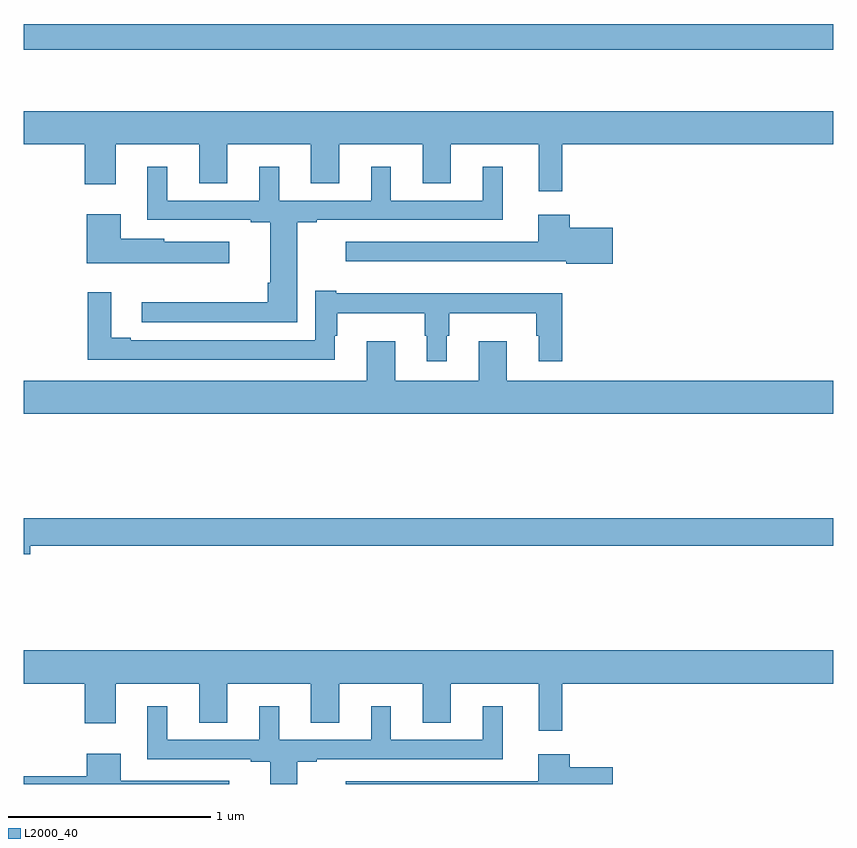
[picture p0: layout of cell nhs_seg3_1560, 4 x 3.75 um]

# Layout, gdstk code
import gdstk
lib = gdstk.Library(unit=1e-6, precision=1e-09)
def R(c, l, rs):  # rectangles x0, y0, x1, y1
    for r in rs: c.add(gdstk.rectangle(r[:2], r[2:], *l))
def P(c, l, *ps):  # polygons
    for p in ps: c.add(gdstk.Polygon(p, *l))
L2000_40 = (2000, 40)

nhs_seg3_1560 = lib.new_cell('nhs_seg3_1560')
R(nhs_seg3_1560, L2000_40, [(191,724.026,195,724.154)])
P(nhs_seg3_1560, L2000_40, [(193.661,723.56),(195,723.56),(195,723.724),(191,723.724),(191,723.56),(191.303,723.56),(191.303,723.363),(191.455,723.363),(191.455,723.56),(191.867,723.56),(191.867,723.367),(192.007,723.367),(192.007,723.56),(192.419,723.56),(192.419,723.367),(192.559,723.367),(192.559,723.56),(192.971,723.56),(192.971,723.367),(193.111,723.367),(193.111,723.56),(193.544,723.56),(193.544,723.327),(193.661,723.327)],
  [(192.352,723.174),(192.448,723.174),(192.448,723.186),(193.367,723.186),(193.367,723.448),(193.268,723.448),(193.268,723.282),(192.814,723.282),(192.814,723.448),(192.716,723.448),(192.716,723.282),(192.262,723.282),(192.262,723.448),(192.164,723.448),(192.164,723.282),(191.71,723.282),(191.71,723.448),(191.612,723.448),(191.612,723.186),(192.122,723.186),(192.122,723.174),(192.218,723.174),(192.218,722.875),(192.206,722.875),(192.206,722.78),(191.583,722.78),(191.583,722.682),(192.352,722.682)],
  [(192.016,723.079),(191.694,723.079),(191.694,723.094),(191.479,723.094),(191.479,723.214),(191.312,723.214),(191.312,722.972),(192.016,722.972)],
  [(193.909,723.147),(193.697,723.147),(193.697,723.211),(193.541,723.211),(193.541,723.078),(192.591,723.078),(192.591,722.981),(193.68,722.981),(193.68,722.969),(193.909,722.969)],
  [(193.09,722.615),(193.102,722.615),(193.102,722.726),(193.533,722.726),(193.533,722.615),(193.544,722.615),(193.544,722.487),(193.661,722.487),(193.661,722.824),(192.544,722.824),(192.544,722.836),(192.441,722.836),(192.441,722.592),(191.53,722.592),(191.53,722.605),(191.434,722.605),(191.434,722.83),(191.317,722.83),(191.317,722.496),(192.538,722.496),(192.538,722.615),(192.55,722.615),(192.55,722.726),(192.981,722.726),(192.981,722.615),(192.992,722.615),(192.992,722.487),(193.09,722.487)],
  [(192.695,722.587),(192.695,722.392),(191,722.392),(191,722.228),(195,722.228),(195,722.392),(193.387,722.392),(193.387,722.587),(193.247,722.587),(193.247,722.392),(192.835,722.392),(192.835,722.587)],
  [(191.032,721.576),(195,721.576),(195,721.712),(191,721.712),(191,721.534),(191.032,721.534)],
  [(193.661,720.896),(195,720.896),(195,721.06),(191,721.06),(191,720.896),(191.303,720.896),(191.303,720.699),(191.455,720.699),(191.455,720.896),(191.867,720.896),(191.867,720.703),(192.007,720.703),(192.007,720.896),(192.419,720.896),(192.419,720.703),(192.559,720.703),(192.559,720.896),(192.971,720.896),(192.971,720.703),(193.111,720.703),(193.111,720.896),(193.544,720.896),(193.544,720.663),(193.661,720.663)],
  [(192.352,720.51),(192.448,720.51),(192.448,720.522),(193.367,720.522),(193.367,720.784),(193.268,720.784),(193.268,720.618),(192.814,720.618),(192.814,720.784),(192.716,720.784),(192.716,720.618),(192.262,720.618),(192.262,720.784),(192.164,720.784),(192.164,720.618),(191.71,720.618),(191.71,720.784),(191.612,720.784),(191.612,720.522),(192.122,720.522),(192.122,720.51),(192.218,720.51),(192.218,720.4),(192.352,720.4)],
  [(192.016,720.415),(191.479,720.415),(191.479,720.55),(191.312,720.55),(191.312,720.438),(191,720.438),(191,720.4),(192.016,720.4)],
  [(193.909,720.483),(193.697,720.483),(193.697,720.547),(193.541,720.547),(193.541,720.414),(192.591,720.414),(192.591,720.4),(193.909,720.4)])

lib.write_gds('nhs_seg3_1560.gds')
